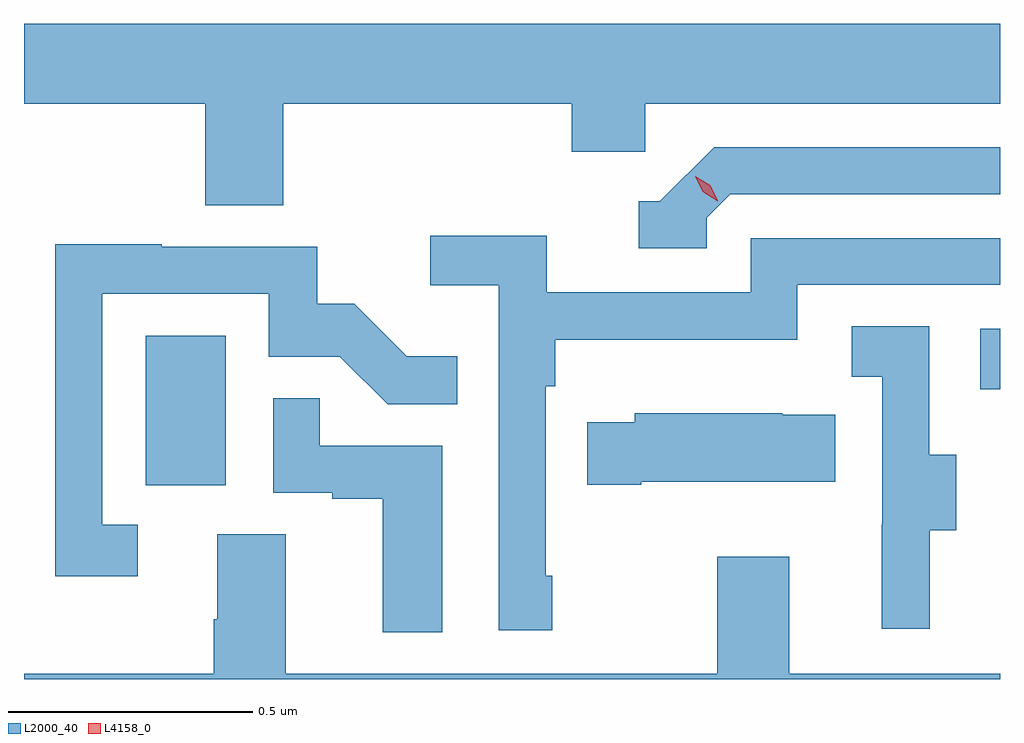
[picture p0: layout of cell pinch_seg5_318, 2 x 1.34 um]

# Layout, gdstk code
import gdstk
lib = gdstk.Library(unit=1e-6, precision=1e-09)
def R(c, l, rs):  # rectangles x0, y0, x1, y1
    for r in rs: c.add(gdstk.rectangle(r[:2], r[2:], *l))
def P(c, l, *ps):  # polygons
    for p in ps: c.add(gdstk.Polygon(p, *l))
L2000_40 = (2000, 40)
L4158_0 = (4158, 0)

pinch_seg5_318 = lib.new_cell('pinch_seg5_318')
R(pinch_seg5_318, L2000_40, [(906.134,878.622,906.298,878.929), (907.845,878.819,907.885,878.943)])
P(pinch_seg5_318, L2000_40, [(906.416,879.404),(907.007,879.404),(907.007,879.306),(907.158,879.306),(907.158,879.404),(907.885,879.404),(907.885,879.568),(905.885,879.568),(905.885,879.404),(906.256,879.404),(906.256,879.196),(906.416,879.196)],
  [(907.284,879.171),(907.332,879.219),(907.885,879.219),(907.885,879.315),(907.299,879.315),(907.188,879.204),(907.145,879.204),(907.145,879.108),(907.284,879.108)],
  [(906.967,878.437),(906.954,878.437),(906.954,878.825),(906.974,878.825),(906.974,878.921),(907.47,878.921),(907.47,879.033),(907.885,879.033),(907.885,879.129),(907.374,879.129),(907.374,879.018),(906.956,879.018),(906.956,879.134),(906.717,879.134),(906.717,879.032),(906.858,879.032),(906.858,878.325),(906.967,878.325)],
  [(906.118,878.541),(906.045,878.541),(906.045,879.015),(906.387,879.015),(906.387,878.886),(906.532,878.886),(906.63,878.788),(906.773,878.788),(906.773,878.887),(906.669,878.887),(906.562,878.994),(906.486,878.994),(906.486,879.111),(906.167,879.111),(906.167,879.116),(905.949,879.116),(905.949,878.436),(906.118,878.436)],
  [(907.741,878.53),(907.795,878.53),(907.795,878.685),(907.74,878.685),(907.74,878.948),(907.581,878.948),(907.581,878.845),(907.644,878.845),(907.644,878.541),(907.643,878.541),(907.643,878.328),(907.741,878.328)],
  [(906.742,878.703),(906.491,878.703),(906.491,878.801),(906.396,878.801),(906.396,878.607),(906.517,878.607),(906.517,878.595),(906.62,878.595),(906.62,878.321),(906.742,878.321)],
  [(907.15,878.63),(907.547,878.63),(907.547,878.767),(907.439,878.767),(907.439,878.77),(907.137,878.77),(907.137,878.752),(907.039,878.752),(907.039,878.623),(907.15,878.623)],
  [(907.885,878.236),(907.453,878.236),(907.453,878.476),(907.306,878.476),(907.306,878.236),(906.421,878.236),(906.421,878.522),(906.281,878.522),(906.281,878.348),(906.274,878.348),(906.274,878.236),(905.885,878.236),(905.885,878.225),(907.885,878.225)])
P(pinch_seg5_318, L4158_0, [(907.307,879.204),(907.276,879.224),(907.26,879.256),(907.26,879.256),(907.26,879.256),(907.291,879.237),(907.307,879.205),(907.307,879.204)])

lib.write_gds('pinch_seg5_318.gds')
